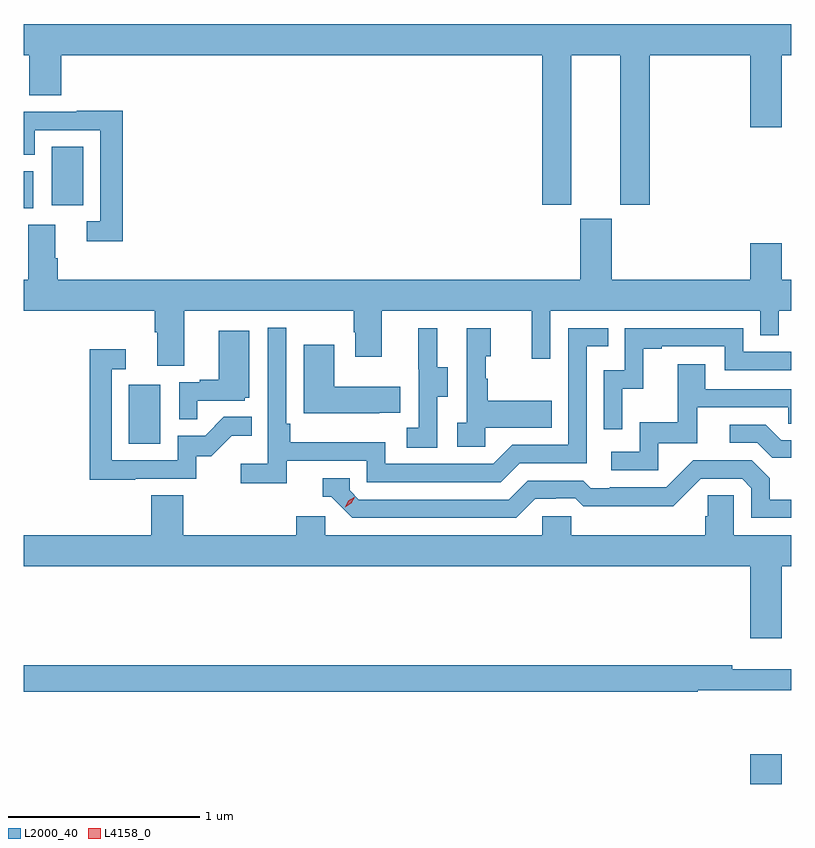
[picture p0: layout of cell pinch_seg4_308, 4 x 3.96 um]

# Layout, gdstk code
import gdstk
lib = gdstk.Library(unit=1e-6, precision=1e-09)
def R(c, l, rs):  # rectangles x0, y0, x1, y1
    for r in rs: c.add(gdstk.rectangle(r[:2], r[2:], *l))
def P(c, l, *ps):  # polygons
    for p in ps: c.add(gdstk.Polygon(p, *l))
L2000_40 = (2000, 40)
L4158_0 = (4158, 0)

pinch_seg4_308 = lib.new_cell('pinch_seg4_308')
R(pinch_seg4_308, L2000_40, [(944.228,793.022,944.392,793.177), (940.988,794.796,941.152,795.103), (940.44,796.023,940.488,796.217), (940.586,796.038,940.75,796.345)])
P(pinch_seg4_308, L2000_40, [(943.294,796.82),(943.55,796.82),(943.55,796.041),(943.703,796.041),(943.703,796.82),(944.228,796.82),(944.228,796.446),(944.392,796.446),(944.392,796.82),(944.44,796.82),(944.44,796.984),(940.44,796.984),(940.44,796.82),(940.469,796.82),(940.469,796.612),(940.634,796.612),(940.634,796.82),(943.142,796.82),(943.142,796.041),(943.294,796.041)],
  [(940.955,796.532),(940.717,796.532),(940.717,796.527),(940.44,796.527),(940.44,796.302),(940.497,796.302),(940.497,796.431),(940.839,796.431),(940.839,795.957),(940.767,795.957),(940.767,795.852),(940.955,795.852)],
  [(944.228,795.841),(944.228,795.652),(943.504,795.652),(943.504,795.969),(943.34,795.969),(943.34,795.652),(940.616,795.652),(940.616,795.764),(940.603,795.764),(940.603,795.938),(940.463,795.938),(940.463,795.652),(940.44,795.652),(940.44,795.488),(941.123,795.488),(941.123,795.376),(941.135,795.376),(941.135,795.202),(941.275,795.202),(941.275,795.488),(942.16,795.488),(942.16,795.377),(942.167,795.377),(942.167,795.249),(942.307,795.249),(942.307,795.488),(943.088,795.488),(943.088,795.24),(943.185,795.24),(943.185,795.488),(944.28,795.488),(944.28,795.361),(944.376,795.361),(944.376,795.488),(944.44,795.488),(944.44,795.652),(944.392,795.652),(944.392,795.841)],
  [(941.81,794.706),(942.228,794.706),(942.228,794.595),(942.925,794.595),(943.024,794.694),(943.374,794.694),(943.374,795.303),(943.487,795.303),(943.487,795.399),(943.278,795.399),(943.278,794.79),(942.987,794.79),(942.888,794.691),(942.324,794.691),(942.324,794.803),(941.828,794.803),(941.828,794.899),(941.808,794.899),(941.808,795.4),(941.712,795.4),(941.712,794.692),(941.571,794.692),(941.571,794.59),(941.81,794.59)],
  [(943.56,795.083),(943.67,795.083),(943.67,795.291),(943.765,795.291),(943.765,795.303),(944.094,795.303),(944.094,795.18),(944.44,795.18),(944.44,795.276),(944.19,795.276),(944.19,795.399),(943.572,795.399),(943.572,795.18),(943.464,795.18),(943.464,794.871),(943.56,794.871)],
  [(942.846,794.879),(943.193,794.879),(943.193,795.019),(942.859,795.019),(942.859,795.134),(942.849,795.134),(942.849,795.252),(942.874,795.252),(942.874,795.397),(942.75,795.397),(942.75,794.906),(942.699,794.906),(942.699,794.781),(942.846,794.781)],
  [(942.594,795.04),(942.649,795.04),(942.649,795.195),(942.595,795.195),(942.595,795.397),(942.497,795.397),(942.497,795.183),(942.498,795.183),(942.498,794.879),(942.435,794.879),(942.435,794.776),(942.594,794.776)],
  [(941.345,795.021),(941.592,795.021),(941.592,795.036),(941.614,795.036),(941.614,795.385),(941.456,795.385),(941.456,795.13),(941.357,795.13),(941.357,795.117),(941.25,795.117),(941.25,794.923),(941.345,794.923)],
  [(942.293,794.957),(942.401,794.957),(942.401,795.094),(942.058,795.094),(942.058,795.313),(941.9,795.313),(941.9,794.954),(942.293,794.954)],
  [(941.021,794.613),(941.34,794.613),(941.34,794.73),(941.416,794.73),(941.523,794.837),(941.627,794.837),(941.627,794.936),(941.483,794.936),(941.385,794.838),(941.241,794.838),(941.241,794.709),(940.899,794.709),(940.899,795.183),(940.972,795.183),(940.972,795.289),(940.783,795.289),(940.783,794.608),(941.021,794.608)],
  [(943.746,794.799),(943.951,794.799),(943.951,794.985),(944.425,794.985),(944.425,794.901),(944.44,794.901),(944.44,795.081),(943.993,795.081),(943.993,795.211),(943.849,795.211),(943.849,794.908),(943.65,794.908),(943.65,794.754),(943.503,794.754),(943.503,794.658),(943.746,794.658)],
  [(944.44,794.814),(944.389,794.814),(944.308,794.895),(944.121,794.895),(944.121,794.802),(944.262,794.802),(944.342,794.722),(944.44,794.722)],
  [(943.105,794.508),(943.212,794.508),(943.212,794.511),(943.315,794.511),(943.357,794.469),(943.59,794.469),(943.59,794.471),(943.826,794.471),(943.968,794.613),(944.184,794.613),(944.232,794.565),(944.232,794.409),(944.44,794.409),(944.44,794.505),(944.329,794.505),(944.329,794.615),(944.235,794.709),(943.929,794.709),(943.788,794.568),(943.495,794.568),(943.495,794.565),(943.396,794.565),(943.357,794.604),(943.068,794.604),(942.969,794.505),(942.186,794.505),(942.138,794.553),(942.138,794.616),(941.999,794.616),(941.999,794.52),(942.042,794.52),(942.153,794.409),(943.006,794.409)],
  [(944.392,794.156),(944.44,794.156),(944.44,794.32),(944.142,794.32),(944.142,794.528),(944.005,794.528),(944.005,794.418),(943.991,794.418),(943.991,794.32),(943.293,794.32),(943.293,794.418),(943.143,794.418),(943.143,794.32),(942.012,794.32),(942.012,794.418),(941.861,794.418),(941.861,794.32),(941.27,794.32),(941.27,794.528),(941.105,794.528),(941.105,794.32),(940.44,794.32),(940.44,794.156),(944.228,794.156),(944.228,793.782),(944.392,793.782)],
  [(943.954,793.512),(944.44,793.512),(944.44,793.621),(944.132,793.621),(944.132,793.64),(940.44,793.64),(940.44,793.504),(943.954,793.504)])
P(pinch_seg4_308, L4158_0, [(942.116,794.466),(942.116,794.466),(942.132,794.499),(942.163,794.518),(942.164,794.518),(942.164,794.517),(942.147,794.485),(942.116,794.466)])

lib.write_gds('pinch_seg4_308.gds')
